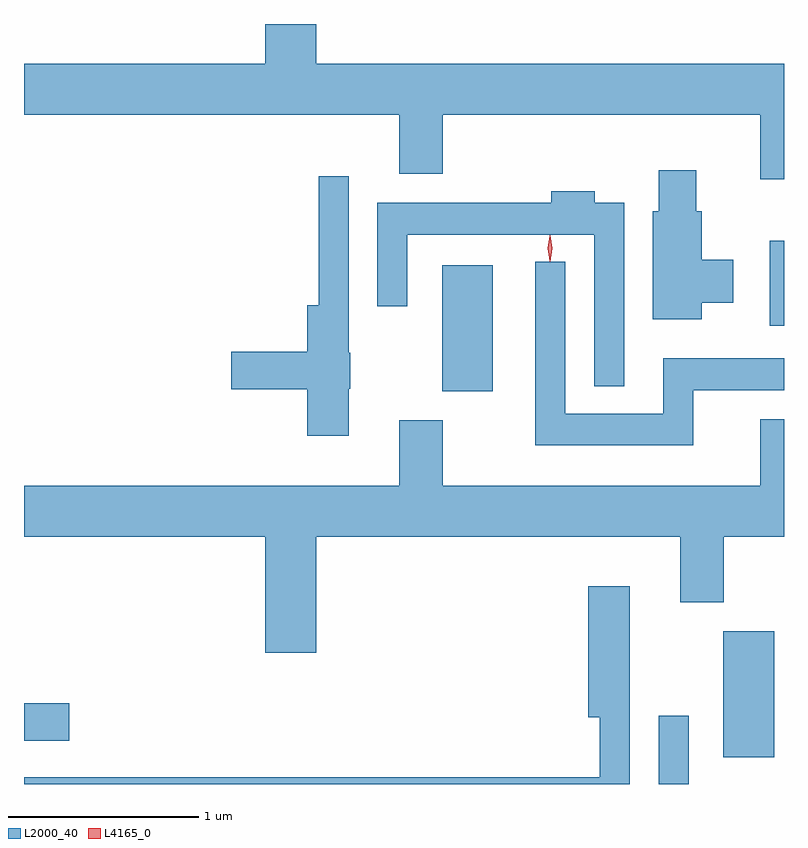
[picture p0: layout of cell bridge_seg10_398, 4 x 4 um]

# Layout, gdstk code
import gdstk
lib = gdstk.Library(unit=1e-6, precision=1e-09)
def R(c, l, rs):  # rectangles x0, y0, x1, y1
    for r in rs: c.add(gdstk.rectangle(r[:2], r[2:], *l))
def P(c, l, *ps):  # polygons
    for p in ps: c.add(gdstk.Polygon(p, *l))
L2000_40 = (2000, 40)
L4165_0 = (4165, 0)

bridge_seg10_398 = lib.new_cell('bridge_seg10_398')
R(bridge_seg10_398, L2000_40, [(1415.946,2112.614,1416.104,2112.973), (1416.286,2112.756,1416.554,2113.419), (1412.606,2112.841,1412.844,2113.039), (1414.806,2114.681,1415.074,2115.344), (1416.531,2115.026,1416.606,2115.474)])
P(bridge_seg10_398, L2000_40, [(1416.606,2116.404),(1414.144,2116.404),(1414.144,2116.614),(1413.876,2116.614),(1413.876,2116.404),(1412.606,2116.404),(1412.606,2116.136),(1414.581,2116.136),(1414.581,2115.826),(1414.809,2115.826),(1414.809,2116.136),(1416.481,2116.136),(1416.481,2115.796),(1416.606,2115.796)],
  [(1416.174,2115.146),(1416.339,2115.146),(1416.339,2115.374),(1416.174,2115.374),(1416.174,2115.629),(1416.144,2115.629),(1416.144,2115.844),(1415.946,2115.844),(1415.946,2115.629),(1415.916,2115.629),(1415.916,2115.061),(1416.174,2115.061)],
  [(1414.314,2114.695),(1414.324,2114.695),(1414.324,2114.885),(1414.314,2114.885),(1414.314,2115.813),(1414.156,2115.813),(1414.156,2115.134),(1414.096,2115.134),(1414.096,2114.889),(1413.696,2114.889),(1413.696,2114.691),(1414.096,2114.691),(1414.096,2114.446),(1414.314,2114.446)],
  [(1415.764,2115.674),(1415.609,2115.674),(1415.609,2115.734),(1415.381,2115.734),(1415.381,2115.674),(1414.466,2115.674),(1414.466,2115.128),(1414.624,2115.128),(1414.624,2115.506),(1415.606,2115.506),(1415.606,2114.708),(1415.764,2114.708)],
  [(1416.129,2114.686),(1416.606,2114.686),(1416.606,2114.854),(1415.971,2114.854),(1415.971,2114.564),(1415.454,2114.564),(1415.454,2115.363),(1415.296,2115.363),(1415.296,2114.396),(1416.129,2114.396)],
  [(1414.144,2113.916),(1416.061,2113.916),(1416.061,2113.571),(1416.289,2113.571),(1416.289,2113.916),(1416.606,2113.916),(1416.606,2114.534),(1416.481,2114.534),(1416.481,2114.184),(1414.809,2114.184),(1414.809,2114.529),(1414.581,2114.529),(1414.581,2114.184),(1412.606,2114.184),(1412.606,2113.916),(1413.876,2113.916),(1413.876,2113.306),(1414.144,2113.306)],
  [(1415.794,2113.654),(1415.576,2113.654),(1415.576,2112.966),(1415.636,2112.966),(1415.636,2112.649),(1412.606,2112.649),(1412.606,2112.614),(1415.794,2112.614)])
P(bridge_seg10_398, L4165_0, [(1415.372,2115.367),(1415.363,2115.434),(1415.372,2115.5),(1415.373,2115.5),(1415.373,2115.5),(1415.383,2115.434),(1415.373,2115.367),(1415.373,2115.367)],
  [(1415.374,2115.364),(1415.365,2115.434),(1415.374,2115.502),(1415.375,2115.503),(1415.375,2115.502),(1415.385,2115.434),(1415.375,2115.364),(1415.375,2115.364)])

lib.write_gds('bridge_seg10_398.gds')
